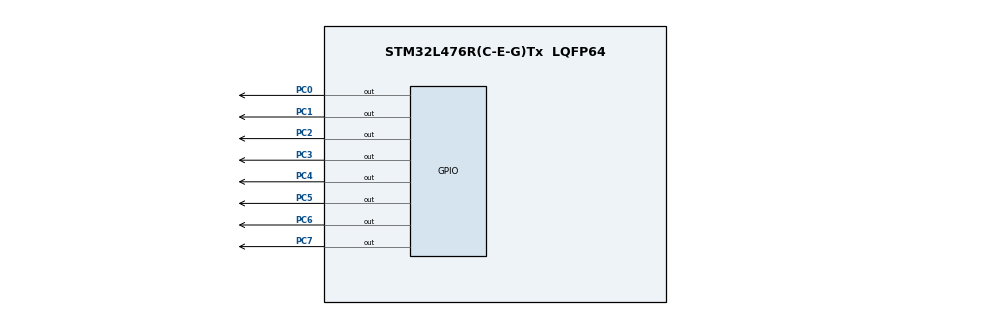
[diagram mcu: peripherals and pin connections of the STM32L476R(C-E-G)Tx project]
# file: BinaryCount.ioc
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Mcu.Family=STM32L4
Mcu.Name=STM32L476R(C-E-G)Tx
Mcu.Package=LQFP64
NVIC.PriorityGroup=NVIC_PRIORITYGROUP_4
PC0.Signal=GPIO_Output
PC1.Signal=GPIO_Output
PC2.Signal=GPIO_Output
PC3.Signal=GPIO_Output
PC4.Signal=GPIO_Output
PC5.Signal=GPIO_Output
PC6.Signal=GPIO_Output
PC7.Signal=GPIO_Output
ProjectManager.HeapSize=0x200
ProjectManager.StackSize=0x400
ProjectManager.TargetToolchain=STM32CubeIDE
RCC.HSE_VALUE=8000000
RCC.HSI_VALUE=16000000
RCC.LSE_VALUE=32768
RCC.MSI_VALUE=4000000
RCC.VCOOutputFreq_Value=32000000
board=custom

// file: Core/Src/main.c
/* USER CODE BEGIN Header */
/**
  ******************************************************************************
  * @file           : main.c
  * @brief          : Main program body
  ******************************************************************************
  * @attention
  *
  * Copyright (c) 2024 STMicroelectronics.
  * All rights reserved.
  *
  * This software is licensed under terms that can be found in the LICENSE file
  * in the root directory of this software component.
  * If no LICENSE file comes with this software, it is provided AS-IS.
  *
  ******************************************************************************
  */
/* USER CODE END Header */
#include "main.h"

/* USER CODE BEGIN PD */
#define led0 GPIO_PIN_0
#define led1 GPIO_PIN_1
#define led2 GPIO_PIN_2
#define led3 GPIO_PIN_3
#define led4 GPIO_PIN_4
#define led5 GPIO_PIN_5
#define led6 GPIO_PIN_6
#define led7 GPIO_PIN_7
int LEDS[] = {led7, led6, led5, led4, led3, led2, led1, led0};
/* USER CODE END PD */

void SystemClock_Config(void);
static void MX_GPIO_Init(void);

/* USER CODE BEGIN 0 */
int Count = 0;
void Display(int , int );

void Display(int No, int L)
{
	int j, m, i;
	m = L - 1;
	for(i = 0; i < L; i++)
	{
		j = pow(2.0, m);
		if((No & j) != 0)
			HAL_GPIO_WritePin(GPIOC, LEDS[i], GPIO_PIN_SET);
		else
			HAL_GPIO_WritePin(GPIOC, LEDS[i], GPIO_PIN_RESET);
			m--;
	}
}

/* USER CODE END 0 */

int main(void)
{

  /* MCU Configuration--------------------------------------------------------*/

  /* Reset of all peripherals, Initializes the Flash interface and the Systick. */
  HAL_Init();

  /* Configure the system clock */
  SystemClock_Config();

  /* Initialize all configured peripherals */
  MX_GPIO_Init();

  /* Infinite loop */
  while (1)
  {
	  Display(Count, 8); // Display Count
	  if(Count == 255) // If 255
		  Count = 0; // Reset to 0
	  else // If not 255
		  Count++; // Increment Count

	  HAL_Delay(50); // Wait 1 second
  }
}

void SystemClock_Config(void)
{
  RCC_OscInitTypeDef RCC_OscInitStruct = {0};
  RCC_ClkInitTypeDef RCC_ClkInitStruct = {0};

  /** Configure the main internal regulator output voltage
  */
  if (HAL_PWREx_ControlVoltageScaling(PWR_REGULATOR_VOLTAGE_SCALE1) != HAL_OK)
  {
    Error_Handler();
  }

  /** Initializes the RCC Oscillators according to the specified parameters
  * in the RCC_OscInitTypeDef structure.
  */
  RCC_OscInitStruct.OscillatorType = RCC_OSCILLATORTYPE_MSI;
  RCC_OscInitStruct.MSIState = RCC_MSI_ON;
  RCC_OscInitStruct.MSICalibrationValue = 0;
  RCC_OscInitStruct.MSIClockRange = RCC_MSIRANGE_6;
  RCC_OscInitStruct.PLL.PLLState = RCC_PLL_NONE;
  if (HAL_RCC_OscConfig(&RCC_OscInitStruct) != HAL_OK)
  {
    Error_Handler();
  }

  /** Initializes the CPU, AHB and APB buses clocks
  */
  RCC_ClkInitStruct.ClockType = RCC_CLOCKTYPE_HCLK|RCC_CLOCKTYPE_SYSCLK
                              |RCC_CLOCKTYPE_PCLK1|RCC_CLOCKTYPE_PCLK2;
  RCC_ClkInitStruct.SYSCLKSource = RCC_SYSCLKSOURCE_MSI;
  RCC_ClkInitStruct.AHBCLKDivider = RCC_SYSCLK_DIV1;
  RCC_ClkInitStruct.APB1CLKDivider = RCC_HCLK_DIV1;
  RCC_ClkInitStruct.APB2CLKDivider = RCC_HCLK_DIV1;

  if (HAL_RCC_ClockConfig(&RCC_ClkInitStruct, FLASH_LATENCY_0) != HAL_OK)
  {
    Error_Handler();
  }
}

static void MX_GPIO_Init(void)
{
  GPIO_InitTypeDef GPIO_InitStruct = {0};

  /* GPIO Ports Clock Enable */
  __HAL_RCC_GPIOC_CLK_ENABLE();

  /*Configure GPIO pin Output Level */
  HAL_GPIO_WritePin(GPIOC, GPIO_PIN_0|GPIO_PIN_1|GPIO_PIN_2|GPIO_PIN_3
                          |GPIO_PIN_4|GPIO_PIN_5|GPIO_PIN_6|GPIO_PIN_7, GPIO_PIN_RESET);

  /*Configure GPIO pins : PC0 PC1 PC2 PC3
                           PC4 PC5 PC6 PC7 */
  GPIO_InitStruct.Pin = GPIO_PIN_0|GPIO_PIN_1|GPIO_PIN_2|GPIO_PIN_3
                          |GPIO_PIN_4|GPIO_PIN_5|GPIO_PIN_6|GPIO_PIN_7;
  GPIO_InitStruct.Mode = GPIO_MODE_OUTPUT_PP;
  GPIO_InitStruct.Pull = GPIO_NOPULL;
  GPIO_InitStruct.Speed = GPIO_SPEED_FREQ_LOW;
  HAL_GPIO_Init(GPIOC, &GPIO_InitStruct);

}

void Error_Handler(void)
{
  __disable_irq();
  while (1)
  {
  }
}
